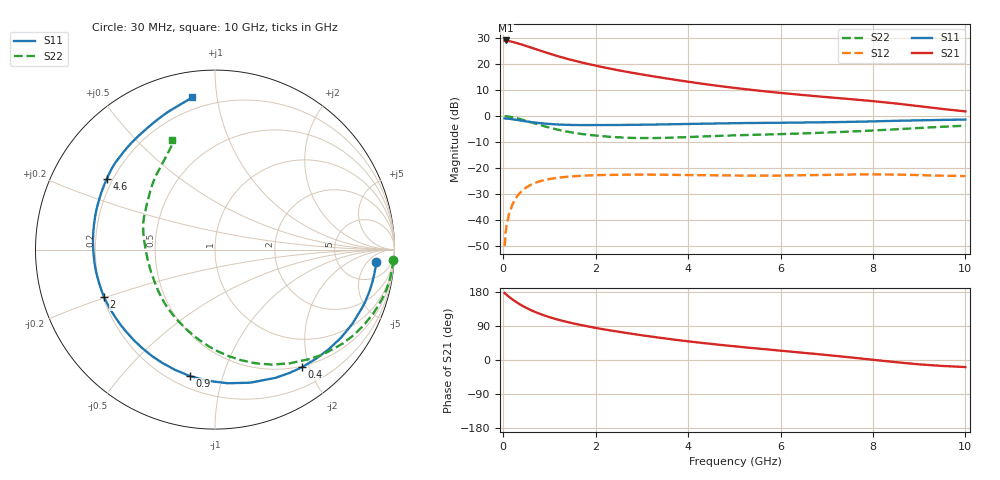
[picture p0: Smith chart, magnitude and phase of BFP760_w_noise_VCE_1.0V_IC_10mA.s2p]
! Infineon Technologies  Discrete & RF Semiconductors
! BFP760
! VCE =  1.0 V,  IC =  10 mA
! Common Emitter S-Parameters:  Nov 2012
# GHz  S  MA  R  50
!  f  S11  S21  S12  S22
! GHz  MAG  ANG  MAG  ANG  MAG  ANG  MAG  ANG
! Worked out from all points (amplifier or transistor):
!   99 points, 30 MHz to 10 GHz, reference 50 ohm
!   highest |S21| = 29.2 dB at 50 MHz (marker M1)
!   |S21| within 3 dB of that: start of sweep to 644.5 MHz
!   unconditionally stable (mu >= 1): 5.534 GHz to end of sweep
!   at 350 MHz: K = 0.12, MSG = 28.9 dB, |S12| = -29.9 dB
!   at 3.5 GHz: K = 0.68, MSG = 18.6 dB, |S12| = -22.6 dB
!   at 10 GHz: K = 1.24, MAG = 9.5 dB, |S12| = -23.1 dB
!   lowest NFmin = 0.48 dB at 900 MHz
!   S11 on the Smith chart (normalised r, x): 30 MHz: 12, -9; 400 MHz: 0.48, -1.88; 900 MHz: 0.27, -0.78; 2 GHz: 0.20, -0.20; 4.6 GHz: 0.18, +0.29; 10 GHz: 0.13, +0.85
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0.03  0.9021 -4.5  28.39 177.0  0.0031 88.7  0.9945 -3.3
0.04  0.901 -5.9  28.44 176.1  0.0039 87.1  0.9936 -4.4
0.05  0.8988 -7.3  28.78 174.3  0.0057 88.0  0.9931 -5.5
0.13  0.8866 -18.8  27.9 166.3  0.0133 78.7  0.977 -14.4
0.2  0.8697 -28.5  27 159.9  0.0198 74.5  0.9519 -21.8
0.3  0.8423 -41.4  25.56 151.5  0.0284 67.5  0.9081 -31.6
0.4  0.8151 -53.6  24.02 144.1  0.0357 61.2  0.857 -40.6
0.5  0.7901 -64.7  22.45 137.6  0.0421 55.6  0.8077 -48.9
0.6  0.7672 -75.1  21.02 131.6  0.0473 50.9  0.7587 -56.6
0.7  0.7481 -84.5  19.61 126.3  0.0519 46.4  0.7146 -63.7
0.9  0.718 -101.3  17.17 117.1  0.0587 39.0  0.6337 -76.6
1.1  0.696 -115.2  15.08 109.4  0.0632 33.2  0.569 -88.0
1.3  0.6818 -126.9  13.37 102.8  0.0665 28.7  0.5187 -98.1
1.7  0.6712 -145.7  10.82 91.9  0.0706 21.7  0.4512 -115.6
2  0.6725 -157.0  9.423 84.8  0.0727 17.7  0.4216 -127.7
2.6  0.6757 -175.1  7.345 72.6  0.074 11.8  0.3852 -148.4
3.4  0.6904 166.3  5.557 58.5  0.0741 6.3  0.3792 -171.7
4.6  0.7207 146.7  3.885 41.2  0.0721 2.0  0.4133 165.2
5.1  0.732 141.4  3.421 35.1  0.0714 1.3  0.4278 158.9
6.7  0.7564 127.6  2.451 16.7  0.0728 0.1  0.4711 141.8
8.5  0.8114 108.7  1.75 -5.8  0.0745 -5.8  0.5564 122.5
10  0.8579 98.6  1.232 -18.6  0.0698 -6.7  0.653 111.4
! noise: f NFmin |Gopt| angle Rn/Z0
0.9  0.48  0.22  28  0.1
1.8  0.54  0.16  58  0.09
2.4  0.59  0.14  85  0.08
3.5  0.73  0.12  129  0.08
5.5  0.97  0.28  -140  0.08
8  1.38  0.41  -95  0.25
